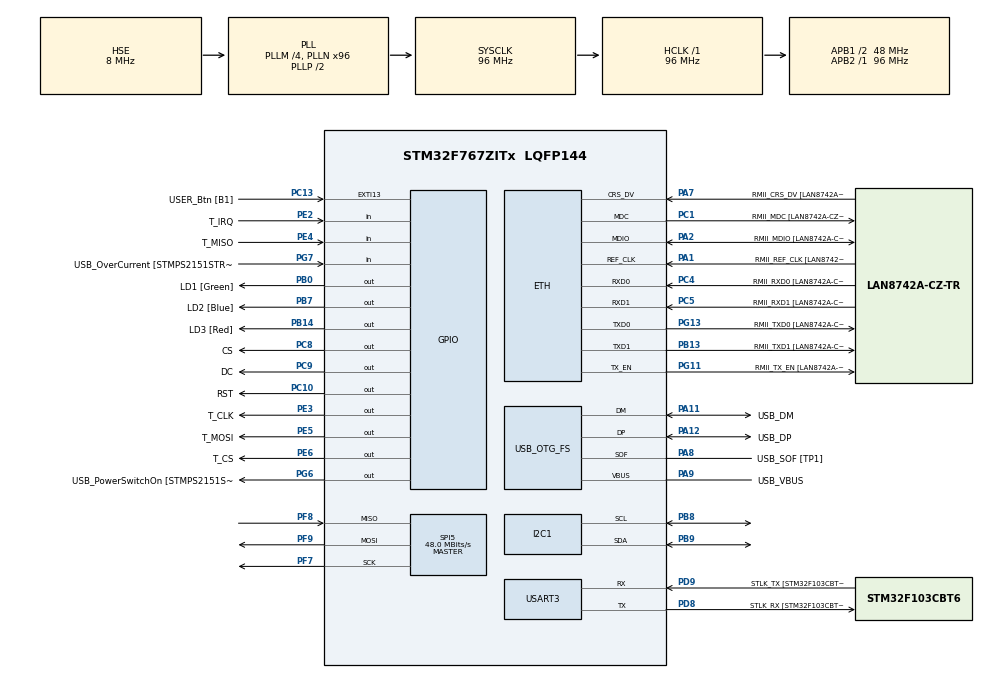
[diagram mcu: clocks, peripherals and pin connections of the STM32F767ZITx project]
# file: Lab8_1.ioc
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CORTEX_M7.ART_ACCELERATOR_ENABLE=1
CORTEX_M7.CPU_DCache=Enabled
CORTEX_M7.CPU_ICache=Enabled
CORTEX_M7.PREFETCH_ENABLE=1
ETH.MediaInterface=HAL_ETH_RMII_MODE
ETH.PHY_Name=LAN8742A_PHY_ADDRESS
ETH.PHY_Value=0
ETH.PhyAddress=0
I2C1.Timing=0x20303E5D
Mcu.Family=STM32F7
Mcu.Name=STM32F767ZITx
Mcu.Package=LQFP144
NVIC.PriorityGroup=NVIC_PRIORITYGROUP_4
PA1.GPIO_Label=RMII_REF_CLK [LAN8742A-CZ-TR_REFCLK0]
PA1.Mode=RMII
PA1.Signal=ETH_REF_CLK
PA10.GPIO_Label=USB_ID
PA10.Signal=USB_OTG_FS_ID
PA11.GPIO_Label=USB_DM
PA11.Mode=Device_Only
PA11.Signal=USB_OTG_FS_DM
PA12.GPIO_Label=USB_DP
PA12.Mode=Device_Only
PA12.Signal=USB_OTG_FS_DP
PA13.GPIO_Label=TMS
PA13.Mode=Serial_Wire
PA13.Signal=SYS_JTMS-SWDIO
PA14.GPIO_Label=TCK
PA14.Mode=Serial_Wire
PA14.Signal=SYS_JTCK-SWCLK
PA2.GPIO_Label=RMII_MDIO [LAN8742A-CZ-TR_MDIO]
PA2.Mode=RMII
PA2.Signal=ETH_MDIO
PA7.GPIO_Label=RMII_CRS_DV [LAN8742A-CZ-TR_CRS_DV]
PA7.Mode=RMII
PA7.Signal=ETH_CRS_DV
PA8.GPIO_Label=USB_SOF [TP1]
PA8.Mode=Activate_SOF_FS
PA8.Signal=USB_OTG_FS_SOF
PA9.GPIO_Label=USB_VBUS
PA9.Mode=Activate_VBUS
PA9.Signal=USB_OTG_FS_VBUS
PB0.GPIO_Label=LD1 [Green]
PB0.Signal=GPIO_Output
PB13.GPIO_Label=RMII_TXD1 [LAN8742A-CZ-TR_TXD1]
PB13.Mode=RMII
PB13.Signal=ETH_TXD1
PB14.GPIO_Label=LD3 [Red]
PB14.Signal=GPIO_Output
PB3.GPIO_Label=SWO
PB3.Signal=SYS_JTDO-SWO
PB7.GPIO_Label=LD2 [Blue]
PB7.Signal=GPIO_Output
PB8.Mode=I2C
PB8.Signal=I2C1_SCL
PB9.Mode=I2C
PB9.Signal=I2C1_SDA
PC1.GPIO_Label=RMII_MDC [LAN8742A-CZ-TR_MDC]
PC1.Mode=RMII
PC1.Signal=ETH_MDC
PC10.GPIO_Label=RST
PC10.Signal=GPIO_Output
PC13.GPIO_Label=USER_Btn [B1]
PC13.Signal=GPXTI13
PC14/OSC32_IN.Mode=LSE-External-Oscillator
PC14/OSC32_IN.Signal=RCC_OSC32_IN
PC15/OSC32_OUT.Mode=LSE-External-Oscillator
PC15/OSC32_OUT.Signal=RCC_OSC32_OUT
PC4.GPIO_Label=RMII_RXD0 [LAN8742A-CZ-TR_RXD0]
PC4.Mode=RMII
PC4.Signal=ETH_RXD0
PC5.GPIO_Label=RMII_RXD1 [LAN8742A-CZ-TR_RXD1]
PC5.Mode=RMII
PC5.Signal=ETH_RXD1
PC8.GPIO_Label=CS
PC8.Signal=GPIO_Output
PC9.GPIO_Label=DC
PC9.Signal=GPIO_Output
PD8.GPIO_Label=STLK_RX [STM32F103CBT6_PA3]
PD8.Mode=Asynchronous
PD8.Signal=USART3_TX
PD9.GPIO_Label=STLK_TX [STM32F103CBT6_PA2]
PD9.Mode=Asynchronous
PD9.Signal=USART3_RX
PE2.GPIO_Label=T_IRQ
PE2.Signal=GPIO_Input
PE3.GPIO_Label=T_CLK
PE3.Signal=GPIO_Output
PE4.GPIO_Label=T_MISO
PE4.Signal=GPIO_Input
PE5.GPIO_Label=T_MOSI
PE5.Signal=GPIO_Output
PE6.GPIO_Label=T_CS
PE6.Signal=GPIO_Output
PF7.Mode=Full_Duplex_Master
PF7.Signal=SPI5_SCK
PF8.Mode=Full_Duplex_Master
PF8.Signal=SPI5_MISO
PF9.Mode=Full_Duplex_Master
PF9.Signal=SPI5_MOSI
PG11.GPIO_Label=RMII_TX_EN [LAN8742A-CZ-TR_TXEN]
PG11.Mode=RMII
PG11.Signal=ETH_TX_EN
PG13.GPIO_Label=RMII_TXD0 [LAN8742A-CZ-TR_TXD0]
PG13.Mode=RMII
PG13.Signal=ETH_TXD0
PG6.GPIO_Label=USB_PowerSwitchOn [STMPS2151STR_EN]
PG6.Signal=GPIO_Output
PG7.GPIO_Label=USB_OverCurrent [STMPS2151STR_FAULT]
PG7.Signal=GPIO_Input
PH0/OSC_IN.GPIO_Label=MCO [STM32F103CBT6_PA8]
PH0/OSC_IN.Mode=HSE-External-Clock-Source
PH0/OSC_IN.Signal=RCC_OSC_IN
PH1/OSC_OUT.Mode=HSE-External-Clock-Source
PH1/OSC_OUT.Signal=RCC_OSC_OUT
ProjectManager.HeapSize=0x200
ProjectManager.StackSize=0x400
ProjectManager.TargetToolchain=STM32CubeIDE
RCC.48MHZClocksFreq_Value=24000000
RCC.AHBFreq_Value=96000000
RCC.APB1CLKDivider=RCC_HCLK_DIV2
RCC.APB1Freq_Value=48000000
RCC.APB1TimFreq_Value=96000000
RCC.APB2Freq_Value=96000000
RCC.APB2TimCLKDivider=1
RCC.APB2TimFreq_Value=96000000
RCC.CortexFreq_Value=96000000
RCC.HCLKFreq_Value=96000000
RCC.HSE_VALUE=8000000
RCC.HSI_VALUE=16000000
RCC.PLLM=4
RCC.PLLMUL=RCC_PLL_MUL9
RCC.PLLN=96
RCC.PLLQ=4
RCC.PRESCALERUSB=RCC_USBCLKSOURCE_PLL_DIV1_5
RCC.SYSCLKFreq_VALUE=96000000
RCC.SYSCLKSource=RCC_SYSCLKSOURCE_PLLCLK
RCC.SYSCLKSourceVirtual=RCC_SYSCLKSOURCE_PLLCLK
RCC.USBFreq_Value=48000000
RCC.VCOOutputFreq_Value=192000000
SPI5.CalculateBaudRate=48.0 MBits/s
SPI5.DataSize=SPI_DATASIZE_8BIT
SPI5.Direction=SPI_DIRECTION_2LINES
SPI5.Mode=SPI_MODE_MASTER
SPI5.NSSPMode=SPI_NSS_PULSE_DISABLE
SPI5.VirtualType=VM_MASTER
TIM1.ClockDivision=TIM_CLOCKDIVISION_DIV2
TIM1.Period=0
TIM1.Prescaler=10000
USART3.VirtualMode-Asynchronous=VM_ASYNC
USB_OTG_FS.VirtualMode=Device_Only
VP_RNG_VS_RNG.Mode=RNG_Activate
VP_TIM1_VS_ClockSourceINT.Mode=Internal
board=NUCLEO-F767ZI

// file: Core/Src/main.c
/* USER CODE BEGIN Header */
/**
 ******************************************************************************
 * @file           : main.c
 * @brief          : Main program body
 ******************************************************************************
 * @attention
 *
 * Copyright (c) 2023 STMicroelectronics.
 * All rights reserved.
 *
 * This software is licensed under terms that can be found in the LICENSE file
 * in the root directory of this software component.
 * If no LICENSE file comes with this software, it is provided AS-IS.
 *
 ******************************************************************************
 */
/* USER CODE END Header */
#include "main.h"
#include "string.h"

/* USER CODE BEGIN Includes */
#include "stdio.h"
#include "ILI9341_Touchscreen.h"

#include "ILI9341_STM32_Driver.h"
#include "ILI9341_GFX.h"
/* USER CODE END Includes */

/* USER CODE BEGIN PTD */
float t = 30.0;
uint8_t step = 0;
HAL_StatusTypeDef status;
/* USER CODE END PTD */

#if defined ( __ICCARM__ ) /*!< IAR Compiler */
#pragma location=0x2007c000
ETH_DMADescTypeDef  DMARxDscrTab[ETH_RX_DESC_CNT]; /* Ethernet Rx DMA Descriptors */
#pragma location=0x2007c0a0
ETH_DMADescTypeDef  DMATxDscrTab[ETH_TX_DESC_CNT]; /* Ethernet Tx DMA Descriptors */

#elif defined ( __CC_ARM )  /* MDK ARM Compiler */

__attribute__((at(0x2007c000))) ETH_DMADescTypeDef  DMARxDscrTab[ETH_RX_DESC_CNT]; /* Ethernet Rx DMA Descriptors */
__attribute__((at(0x2007c0a0))) ETH_DMADescTypeDef  DMATxDscrTab[ETH_TX_DESC_CNT]; /* Ethernet Tx DMA Descriptors */

#elif defined ( __GNUC__ ) /* GNU Compiler */
ETH_DMADescTypeDef DMARxDscrTab[ETH_RX_DESC_CNT] __attribute__((section(".RxDecripSection"))); /* Ethernet Rx DMA Descriptors */
ETH_DMADescTypeDef DMATxDscrTab[ETH_TX_DESC_CNT] __attribute__((section(".TxDecripSection"))); /* Ethernet Tx DMA Descriptors */

#endif

ETH_TxPacketConfig TxConfig;

ETH_HandleTypeDef heth;

I2C_HandleTypeDef hi2c1;

RNG_HandleTypeDef hrng;

SPI_HandleTypeDef hspi5;

TIM_HandleTypeDef htim1;

UART_HandleTypeDef huart3;

PCD_HandleTypeDef hpcd_USB_OTG_FS;

/* USER CODE BEGIN PV */
uint16_t CRC16_2(uint8_t*, uint8_t);
/* USER CODE END PV */

void SystemClock_Config(void);
static void MX_GPIO_Init(void);
static void MX_ETH_Init(void);
static void MX_USART3_UART_Init(void);
static void MX_USB_OTG_FS_PCD_Init(void);
static void MX_RNG_Init(void);
static void MX_SPI5_Init(void);
static void MX_TIM1_Init(void);
static void MX_I2C1_Init(void);

int main(void) {
	/* USER CODE BEGIN 1 */
	uint8_t cmdBuffer[3];
	uint8_t dataBuffer[8];
	/* USER CODE END 1 */

	/* Enable I-Cache---------------------------------------------------------*/
	SCB_EnableICache();

	/* Enable D-Cache---------------------------------------------------------*/
	SCB_EnableDCache();

	/* MCU Configuration--------------------------------------------------------*/

	/* Reset of all peripherals, Initializes the Flash interface and the Systick. */
	HAL_Init();

	/* Configure the system clock */
	SystemClock_Config();

	/* Initialize all configured peripherals */
	MX_GPIO_Init();
	MX_ETH_Init();
	MX_USART3_UART_Init();
	MX_USB_OTG_FS_PCD_Init();
	MX_RNG_Init();
	MX_SPI5_Init();
	MX_TIM1_Init();
	MX_I2C1_Init();
	/* USER CODE BEGIN 2 */
	ILI9341_Init();
	/* USER CODE END 2 */
	cmdBuffer[0] = 0x03;
	cmdBuffer[1] = 0x00;
	cmdBuffer[2] = 0x04;
	/* Infinite loop */
	/* USER CODE BEGIN WHILE */
	while (1) {
		HAL_I2C_Master_Transmit(&hi2c1, 0x5c << 1, cmdBuffer, 3, 200);
		HAL_I2C_Master_Transmit(&hi2c1, 0x5c << 1, cmdBuffer, 3, 200);
		HAL_Delay(1);
		HAL_I2C_Master_Receive(&hi2c1, 0x5c << 1, dataBuffer, 8, 200);
		uint8_t Rcrc = dataBuffer[7] << 8;
		Rcrc += dataBuffer[6];
		if (Rcrc == CRC16_2(dataBuffer, 6)) {
			uint8_t temp = ((dataBuffer[4] & 0x7F) << 8) + dataBuffer[5];
			t = temp / 10.0;
			t = (((dataBuffer[4] & 0x80) >> 7) == 1) ? (t * (-1)) : t;
		}

		ILI9341_Fill_Screen(WHITE);
		ILI9341_Set_Rotation(SCREEN_HORIZONTAL_1);
		char Temp_Buffer_text[10];
		sprintf(Temp_Buffer_text, "%d C", t);
		ILI9341_Draw_Text(Temp_Buffer_text, 10, 10, BLACK, 2, WHITE);
		/* USER CODE END WHILE */

	}
}

void SystemClock_Config(void) {
	RCC_OscInitTypeDef RCC_OscInitStruct = { 0 };
	RCC_ClkInitTypeDef RCC_ClkInitStruct = { 0 };

	/** Configure LSE Drive Capability
	 */
	HAL_PWR_EnableBkUpAccess();

	/** Configure the main internal regulator output voltage
	 */
	__HAL_RCC_PWR_CLK_ENABLE();
	__HAL_PWR_VOLTAGESCALING_CONFIG(PWR_REGULATOR_VOLTAGE_SCALE3);

	/** Initializes the RCC Oscillators according to the specified parameters
	 * in the RCC_OscInitTypeDef structure.
	 */
	RCC_OscInitStruct.OscillatorType = RCC_OSCILLATORTYPE_HSE;
	RCC_OscInitStruct.HSEState = RCC_HSE_BYPASS;
	RCC_OscInitStruct.PLL.PLLState = RCC_PLL_ON;
	RCC_OscInitStruct.PLL.PLLSource = RCC_PLLSOURCE_HSE;
	RCC_OscInitStruct.PLL.PLLM = 4;
	RCC_OscInitStruct.PLL.PLLN = 96;
	RCC_OscInitStruct.PLL.PLLP = RCC_PLLP_DIV2;
	RCC_OscInitStruct.PLL.PLLQ = 4;
	RCC_OscInitStruct.PLL.PLLR = 2;
	if (HAL_RCC_OscConfig(&RCC_OscInitStruct) != HAL_OK) {
		Error_Handler();
	}

	/** Activate the Over-Drive mode
	 */
	if (HAL_PWREx_EnableOverDrive() != HAL_OK) {
		Error_Handler();
	}

	/** Initializes the CPU, AHB and APB buses clocks
	 */
	RCC_ClkInitStruct.ClockType = RCC_CLOCKTYPE_HCLK | RCC_CLOCKTYPE_SYSCLK
			| RCC_CLOCKTYPE_PCLK1 | RCC_CLOCKTYPE_PCLK2;
	RCC_ClkInitStruct.SYSCLKSource = RCC_SYSCLKSOURCE_PLLCLK;
	RCC_ClkInitStruct.AHBCLKDivider = RCC_SYSCLK_DIV1;
	RCC_ClkInitStruct.APB1CLKDivider = RCC_HCLK_DIV2;
	RCC_ClkInitStruct.APB2CLKDivider = RCC_HCLK_DIV1;

	if (HAL_RCC_ClockConfig(&RCC_ClkInitStruct, FLASH_LATENCY_3) != HAL_OK) {
		Error_Handler();
	}
}

static void MX_ETH_Init(void) {

	static uint8_t MACAddr[6];

	heth.Instance = ETH;
	MACAddr[0] = 0x00;
	MACAddr[1] = 0x80;
	MACAddr[2] = 0xE1;
	MACAddr[3] = 0x00;
	MACAddr[4] = 0x00;
	MACAddr[5] = 0x00;
	heth.Init.MACAddr = &MACAddr[0];
	heth.Init.MediaInterface = HAL_ETH_RMII_MODE;
	heth.Init.TxDesc = DMATxDscrTab;
	heth.Init.RxDesc = DMARxDscrTab;
	heth.Init.RxBuffLen = 1524;

	if (HAL_ETH_Init(&heth) != HAL_OK) {
		Error_Handler();
	}

	memset(&TxConfig, 0, sizeof(ETH_TxPacketConfig));
	TxConfig.Attributes = ETH_TX_PACKETS_FEATURES_CSUM
			| ETH_TX_PACKETS_FEATURES_CRCPAD;
	TxConfig.ChecksumCtrl = ETH_CHECKSUM_IPHDR_PAYLOAD_INSERT_PHDR_CALC;
	TxConfig.CRCPadCtrl = ETH_CRC_PAD_INSERT;

}

static void MX_I2C1_Init(void) {

	hi2c1.Instance = I2C1;
	hi2c1.Init.Timing = 0x20303E5D;
	hi2c1.Init.OwnAddress1 = 0;
	hi2c1.Init.AddressingMode = I2C_ADDRESSINGMODE_7BIT;
	hi2c1.Init.DualAddressMode = I2C_DUALADDRESS_DISABLE;
	hi2c1.Init.OwnAddress2 = 0;
	hi2c1.Init.OwnAddress2Masks = I2C_OA2_NOMASK;
	hi2c1.Init.GeneralCallMode = I2C_GENERALCALL_DISABLE;
	hi2c1.Init.NoStretchMode = I2C_NOSTRETCH_DISABLE;
	if (HAL_I2C_Init(&hi2c1) != HAL_OK) {
		Error_Handler();
	}

	/** Configure Analogue filter
	 */
	if (HAL_I2CEx_ConfigAnalogFilter(&hi2c1, I2C_ANALOGFILTER_ENABLE)
			!= HAL_OK) {
		Error_Handler();
	}

	/** Configure Digital filter
	 */
	if (HAL_I2CEx_ConfigDigitalFilter(&hi2c1, 0) != HAL_OK) {
		Error_Handler();
	}

}

static void MX_RNG_Init(void) {

	hrng.Instance = RNG;
	if (HAL_RNG_Init(&hrng) != HAL_OK) {
		Error_Handler();
	}

}

static void MX_SPI5_Init(void) {

	/* SPI5 parameter configuration*/
	hspi5.Instance = SPI5;
	hspi5.Init.Mode = SPI_MODE_MASTER;
	hspi5.Init.Direction = SPI_DIRECTION_2LINES;
	hspi5.Init.DataSize = SPI_DATASIZE_8BIT;
	hspi5.Init.CLKPolarity = SPI_POLARITY_LOW;
	hspi5.Init.CLKPhase = SPI_PHASE_1EDGE;
	hspi5.Init.NSS = SPI_NSS_SOFT;
	hspi5.Init.BaudRatePrescaler = SPI_BAUDRATEPRESCALER_2;
	hspi5.Init.FirstBit = SPI_FIRSTBIT_MSB;
	hspi5.Init.TIMode = SPI_TIMODE_DISABLE;
	hspi5.Init.CRCCalculation = SPI_CRCCALCULATION_DISABLE;
	hspi5.Init.CRCPolynomial = 7;
	hspi5.Init.CRCLength = SPI_CRC_LENGTH_DATASIZE;
	hspi5.Init.NSSPMode = SPI_NSS_PULSE_DISABLE;
	if (HAL_SPI_Init(&hspi5) != HAL_OK) {
		Error_Handler();
	}

}

static void MX_TIM1_Init(void) {

	TIM_ClockConfigTypeDef sClockSourceConfig = { 0 };
	TIM_MasterConfigTypeDef sMasterConfig = { 0 };

	htim1.Instance = TIM1;
	htim1.Init.Prescaler = 10000;
	htim1.Init.CounterMode = TIM_COUNTERMODE_UP;
	htim1.Init.Period = 0;
	htim1.Init.ClockDivision = TIM_CLOCKDIVISION_DIV2;
	htim1.Init.RepetitionCounter = 0;
	htim1.Init.AutoReloadPreload = TIM_AUTORELOAD_PRELOAD_DISABLE;
	if (HAL_TIM_Base_Init(&htim1) != HAL_OK) {
		Error_Handler();
	}
	sClockSourceConfig.ClockSource = TIM_CLOCKSOURCE_INTERNAL;
	if (HAL_TIM_ConfigClockSource(&htim1, &sClockSourceConfig) != HAL_OK) {
		Error_Handler();
	}
	sMasterConfig.MasterOutputTrigger = TIM_TRGO_RESET;
	sMasterConfig.MasterOutputTrigger2 = TIM_TRGO2_RESET;
	sMasterConfig.MasterSlaveMode = TIM_MASTERSLAVEMODE_DISABLE;
	if (HAL_TIMEx_MasterConfigSynchronization(&htim1, &sMasterConfig)
			!= HAL_OK) {
		Error_Handler();
	}

}

static void MX_USART3_UART_Init(void) {

	huart3.Instance = USART3;
	huart3.Init.BaudRate = 115200;
	huart3.Init.WordLength = UART_WORDLENGTH_8B;
	huart3.Init.StopBits = UART_STOPBITS_1;
	huart3.Init.Parity = UART_PARITY_NONE;
	huart3.Init.Mode = UART_MODE_TX_RX;
	huart3.Init.HwFlowCtl = UART_HWCONTROL_NONE;
	huart3.Init.OverSampling = UART_OVERSAMPLING_16;
	huart3.Init.OneBitSampling = UART_ONE_BIT_SAMPLE_DISABLE;
	huart3.AdvancedInit.AdvFeatureInit = UART_ADVFEATURE_NO_INIT;
	if (HAL_UART_Init(&huart3) != HAL_OK) {
		Error_Handler();
	}

}

static void MX_USB_OTG_FS_PCD_Init(void) {

	hpcd_USB_OTG_FS.Instance = USB_OTG_FS;
	hpcd_USB_OTG_FS.Init.dev_endpoints = 6;
	hpcd_USB_OTG_FS.Init.speed = PCD_SPEED_FULL;
	hpcd_USB_OTG_FS.Init.dma_enable = DISABLE;
	hpcd_USB_OTG_FS.Init.phy_itface = PCD_PHY_EMBEDDED;
	hpcd_USB_OTG_FS.Init.Sof_enable = ENABLE;
	hpcd_USB_OTG_FS.Init.low_power_enable = DISABLE;
	hpcd_USB_OTG_FS.Init.lpm_enable = DISABLE;
	hpcd_USB_OTG_FS.Init.vbus_sensing_enable = ENABLE;
	hpcd_USB_OTG_FS.Init.use_dedicated_ep1 = DISABLE;
	if (HAL_PCD_Init(&hpcd_USB_OTG_FS) != HAL_OK) {
		Error_Handler();
	}

}

static void MX_GPIO_Init(void) {
	GPIO_InitTypeDef GPIO_InitStruct = { 0 };

	/* GPIO Ports Clock Enable */
	__HAL_RCC_GPIOE_CLK_ENABLE();
	__HAL_RCC_GPIOC_CLK_ENABLE();
	__HAL_RCC_GPIOF_CLK_ENABLE();
	__HAL_RCC_GPIOH_CLK_ENABLE();
	__HAL_RCC_GPIOA_CLK_ENABLE();
	__HAL_RCC_GPIOB_CLK_ENABLE();
	__HAL_RCC_GPIOD_CLK_ENABLE();
	__HAL_RCC_GPIOG_CLK_ENABLE();

	/*Configure GPIO pin Output Level */
	HAL_GPIO_WritePin(GPIOE, GPIO_PIN_3 | GPIO_PIN_5 | GPIO_PIN_6,
			GPIO_PIN_RESET);

	/*Configure GPIO pin Output Level */
	HAL_GPIO_WritePin(GPIOB, LD1_Pin | LD3_Pin | LD2_Pin, GPIO_PIN_RESET);

	/*Configure GPIO pin Output Level */
	HAL_GPIO_WritePin(USB_PowerSwitchOn_GPIO_Port, USB_PowerSwitchOn_Pin,
			GPIO_PIN_RESET);

	/*Configure GPIO pin Output Level */
	HAL_GPIO_WritePin(GPIOC, GPIO_PIN_8 | GPIO_PIN_9 | GPIO_PIN_10,
			GPIO_PIN_RESET);

	/*Configure GPIO pins : PE2 PE4 */
	GPIO_InitStruct.Pin = GPIO_PIN_2 | GPIO_PIN_4;
	GPIO_InitStruct.Mode = GPIO_MODE_INPUT;
	GPIO_InitStruct.Pull = GPIO_NOPULL;
	HAL_GPIO_Init(GPIOE, &GPIO_InitStruct);

	/*Configure GPIO pins : PE3 PE5 PE6 */
	GPIO_InitStruct.Pin = GPIO_PIN_3 | GPIO_PIN_5 | GPIO_PIN_6;
	GPIO_InitStruct.Mode = GPIO_MODE_OUTPUT_PP;
	GPIO_InitStruct.Pull = GPIO_NOPULL;
	GPIO_InitStruct.Speed = GPIO_SPEED_FREQ_LOW;
	HAL_GPIO_Init(GPIOE, &GPIO_InitStruct);

	/*Configure GPIO pin : USER_Btn_Pin */
	GPIO_InitStruct.Pin = USER_Btn_Pin;
	GPIO_InitStruct.Mode = GPIO_MODE_IT_RISING;
	GPIO_InitStruct.Pull = GPIO_NOPULL;
	HAL_GPIO_Init(USER_Btn_GPIO_Port, &GPIO_InitStruct);

	/*Configure GPIO pins : LD1_Pin LD3_Pin LD2_Pin */
	GPIO_InitStruct.Pin = LD1_Pin | LD3_Pin | LD2_Pin;
	GPIO_InitStruct.Mode = GPIO_MODE_OUTPUT_PP;
	GPIO_InitStruct.Pull = GPIO_NOPULL;
	GPIO_InitStruct.Speed = GPIO_SPEED_FREQ_LOW;
	HAL_GPIO_Init(GPIOB, &GPIO_InitStruct);

	/*Configure GPIO pin : USB_PowerSwitchOn_Pin */
	GPIO_InitStruct.Pin = USB_PowerSwitchOn_Pin;
	GPIO_InitStruct.Mode = GPIO_MODE_OUTPUT_PP;
	GPIO_InitStruct.Pull = GPIO_NOPULL;
	GPIO_InitStruct.Speed = GPIO_SPEED_FREQ_LOW;
	HAL_GPIO_Init(USB_PowerSwitchOn_GPIO_Port, &GPIO_InitStruct);

	/*Configure GPIO pin : USB_OverCurrent_Pin */
	GPIO_InitStruct.Pin = USB_OverCurrent_Pin;
	GPIO_InitStruct.Mode = GPIO_MODE_INPUT;
	GPIO_InitStruct.Pull = GPIO_NOPULL;
	HAL_GPIO_Init(USB_OverCurrent_GPIO_Port, &GPIO_InitStruct);

	/*Configure GPIO pins : PC8 PC9 PC10 */
	GPIO_InitStruct.Pin = GPIO_PIN_8 | GPIO_PIN_9 | GPIO_PIN_10;
	GPIO_InitStruct.Mode = GPIO_MODE_OUTPUT_PP;
	GPIO_InitStruct.Pull = GPIO_NOPULL;
	GPIO_InitStruct.Speed = GPIO_SPEED_FREQ_LOW;
	HAL_GPIO_Init(GPIOC, &GPIO_InitStruct);

}

/* USER CODE BEGIN 4 */
uint16_t CRC16_2(uint8_t *ptr, uint8_t lenght) {
	uint16_t crc = 0xFFFF;
	uint8_t s = 0x00;

	while (lenght--) {
		crc ^= *ptr++;
		for (s = 0; s < 8; s++) {
			if ((crc & 0x01) != 0) {
				crc >>= 1;
				crc ^= 0xA001;
			} else {
				crc >>= 1;
			}
		}
	}
	return crc;
}
/* USER CODE END 4 */

void Error_Handler(void) {
	__disable_irq();
	while (1) {
	}
}
